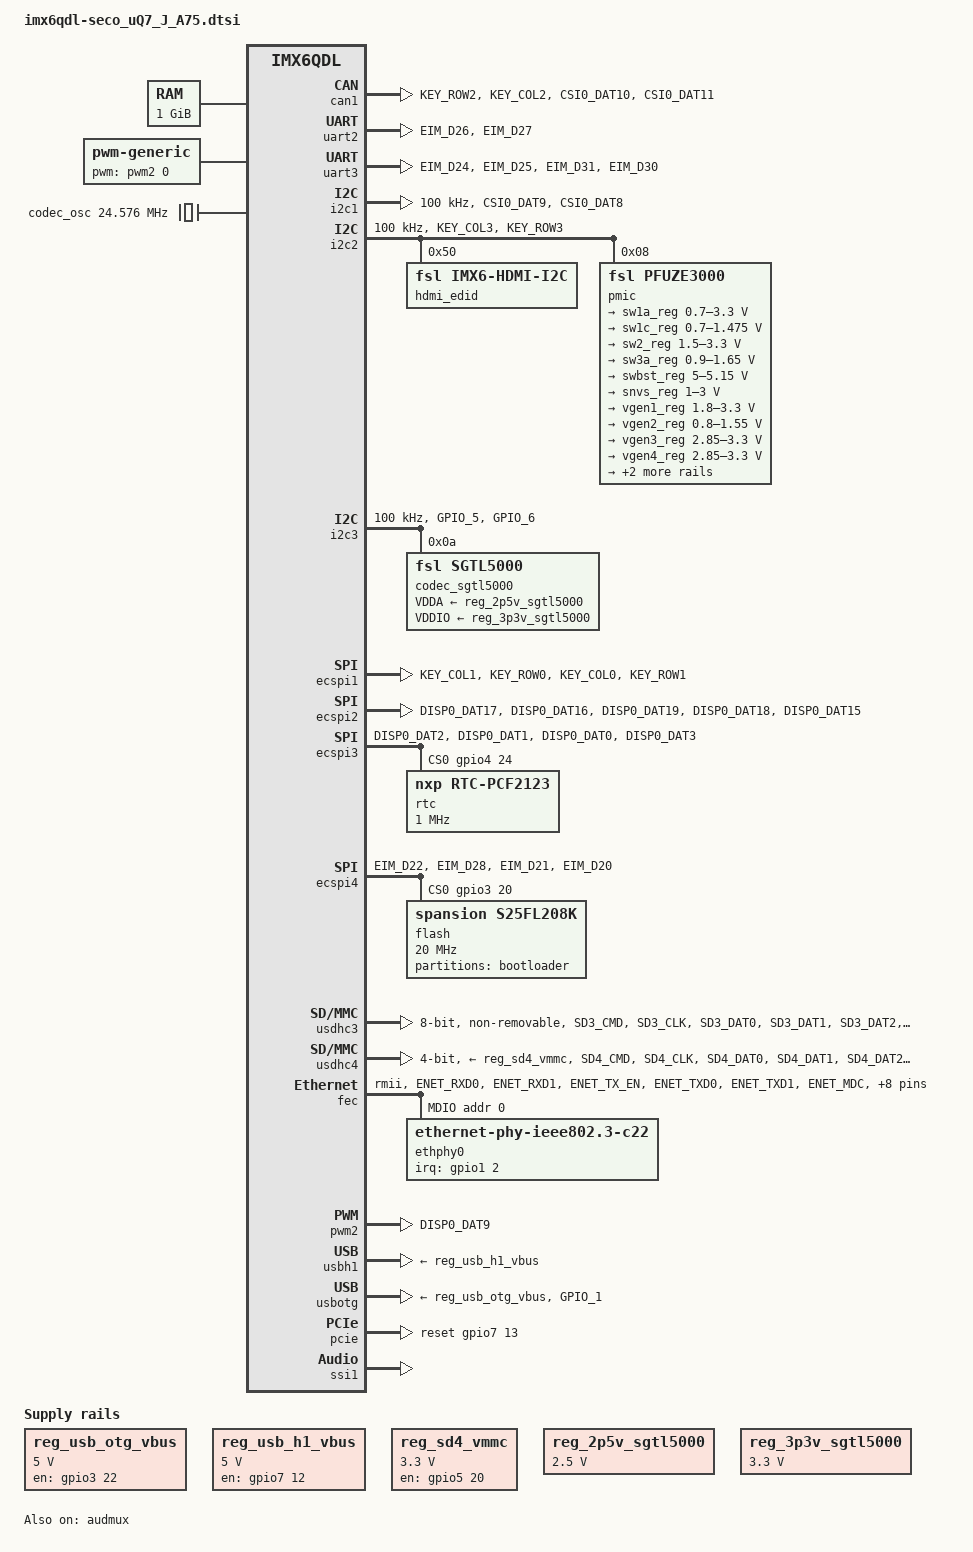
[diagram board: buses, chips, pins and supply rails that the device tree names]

#include <dt-bindings/gpio/gpio.h>
#include <dt-bindings/input/input.h>
#include <dt-bindings/pwm/pwm.h>
#include <dt-bindings/seco/ectrl.h>


/ {
	aliases {
		mxcfb0 = &mxcfb1;
		mxcfb1 = &mxcfb2;
		mxcfb2 = &mxcfb3;
		mxcfb3 = &mxcfb4;
		mmc0   = &usdhc3;
		mmc1   = &usdhc4;
	};

	memory: memory {
		reg = <0x10000000 0x40000000>;
	};


/*  __________________________________________________________________________
 * |                                                                          |
 * |                                 REGULATORS                               |
 * |__________________________________________________________________________|
 */
	regulators {
		compatible       = "simple-bus";
		#address-cells   = <1>;
		#size-cells      = <0>;

		reg_usb_otg_vbus: regulator@0 {
			compatible              = "regulator-fixed";
			reg                     = <0>;
			regulator-name          = "usb_otg_vbus";
			regulator-min-microvolt = <5000000>;
			regulator-max-microvolt = <5000000>;
			gpio                    = <&gpio3 22 0>;
			enable-active-high;
		};

		reg_usb_h1_vbus: regulator@1 {
			compatible              = "regulator-fixed";
			reg                     = <1>;
			regulator-name          = "usb_h1_vbus";
			pinctrl-0               = <&pinctrl_usb_reg>;
			regulator-min-microvolt = <5000000>;
			regulator-max-microvolt = <5000000>;
			gpio                    = <&gpio7 12 0>;
			enable-active-high;
			startup-delay-us        = <10>; /* USB2514 requires a POR of 1 us minimum */
		};

		reg_panel_on: regulator@2 {
			compatible              = "regulator-fixed";
			reg                     = <2>;
			regulator-name          = "reg_panel_on";
			regulator-min-microvolt = <3300000>;
			regulator-max-microvolt = <3300000>;
			gpio                    = <&gpio1 2 0>;
			enable-active-high;
			regulator-boot-on;
			regulator-always-on;
			status                  = "disabled";
		};

		reg_sd4_vmmc: regulator@3 {
			compatible              = "regulator-fixed";
			reg                     = <3>;
			regulator-name          = "sdcard_on";
			regulator-min-microvolt = <3300000>;
			regulator-max-microvolt = <3300000>;
			gpio                    = <&gpio5 20 0>;
			enable-active-high;
		};

		reg_2p5v_sgtl5000: regulator@4 {
			compatible              = "regulator-fixed";
			reg                     = <4>;
			regulator-name          = "2P5V_sgtl5000";
			regulator-min-microvolt = <2500000>;
			regulator-max-microvolt = <2500000>;
			regulator-always-on;
			status                  = "okay";
		};

		reg_3p3v_sgtl5000: regulator@5 {
			compatible              = "regulator-fixed";
			reg                     = <5>;
			regulator-name          = "3P3V_sgtl5000";
			regulator-min-microvolt = <3300000>;
			regulator-max-microvolt = <3300000>;
			regulator-always-on;
			status                  = "okay";
		};

	};


/*  __________________________________________________________________________
 * |                                                                          |
 * |                                   VIDEO                                  |
 * |__________________________________________________________________________|
 */

	mxcfb1: fb@0 {
		compatible = "fsl,mxc_sdc_fb";
		disp_dev = "ldb";
		interface_pix_fmt = "RGB666";
		default_bpp = <16>;
		int_clk = <0>;
		late_init = <0>;
		status = "disabled";
	};

	mxcfb2: fb@1 {
		compatible = "fsl,mxc_sdc_fb";
		disp_dev = "hdmi";
		interface_pix_fmt = "RGB24";
		mode_str ="1920x1080M@60";
		default_bpp = <24>;
		int_clk = <0>;
		late_init = <0>;
		status = "disabled";
	};

	mxcfb3: fb@2 {
		compatible = "fsl,mxc_sdc_fb";
		disp_dev = "lcd";
		interface_pix_fmt = "RGB565";
		mode_str ="CLAA-WVGA";
		default_bpp = <16>;
		int_clk = <0>;
		late_init = <0>;
		status = "disabled";
	};

	mxcfb4: fb@3 {
		compatible = "fsl,mxc_sdc_fb";
		disp_dev = "ldb";
		interface_pix_fmt = "RGB666";
		default_bpp = <16>;
		int_clk = <0>;
		late_init = <0>;
		status = "disabled";
	};


	backlight: backlight {
		compatible               = "pwm-backlight";
		pwms                     = <&pwm1 0 5000000>;
		brightness-levels        = <0  4   8   12  16  20  24  28  32  36
		                            40  44  48  52  56  60  64  68  72  76
		                            80  84  88  92  96  100 104 108 112 116
		                            120 124 128 132 136 140 144 148 152 156
		                            160 164 168 172 176 180 184 188 192 196
		                            200 204 208 212 216 220 224 228 232 236
		                            240 244 248 252 255
		                           >;
		default-brightness-level = <64>;
		enable-gpios             = <&gpio1 4 0>;
		status                   = "disabled";
	};



/*  __________________________________________________________________________
 * |                                                                          |
 * |                                    PWM                                   |
 * |__________________________________________________________________________|
 */
	pwm-generic {
		compatible      = "pwm-generic";
		pwms            = <&pwm2 0 500000000>;
		pinctrl-0       = <&pinctrl_pwm2>;
		max-duty        = <255>;
		dft-duty        = <128>;
		pwm-period-ns   = <5000000>;
		period-ns-min   = <150>;
		period-ns-max   = <50000000>;
		pwm-id          = <1>;
		enable          = <0>;
	};
};



/*  __________________________________________________________________________
 * |                                                                          |
 * |                                 CLOCKS                                   |
 * |__________________________________________________________________________|
 */
/ {
	clocks {
		codec_osc: anaclk2 {
			compatible      = "fixed-clock";
			#clock-cells    = <0>;
			clock-frequency = <24576000>;
		};
	};
};

&clks {
	assigned-clocks      =
		<&clks IMX6QDL_PLL4_BYPASS_SRC>,
 		<&clks IMX6QDL_PLL4_BYPASS>,
		<&clks IMX6QDL_CLK_PLL4_POST_DIV>;

	assigned-clock-parents =
		<&clks IMX6QDL_CLK_LVDS2_IN>,
		<&clks IMX6QDL_PLL4_BYPASS_SRC>;

	assigned-clock-rates = <0>, <0>, <24576000>;
};



/*  __________________________________________________________________________
 * |                                                                          |
 * |                                    CAN                                   |
 * |__________________________________________________________________________|
 */
/*  Shared with UART1  */
&can1 {
	pinctrl-names = "default";
	pinctrl-0     = <&pinctrl_flexcan1>;
	status        = "okay";
};
/*  __________________________________________________________________________
 * |__________________________________________________________________________|
 */


/*  __________________________________________________________________________
 * |                                                                          |
 * |                                    UART                                  |
 * |__________________________________________________________________________|
 */
&uart1 {
	pinctrl-names = "default";
	pinctrl-0     = <&pinctrl_uart1>;
	status        = "disabled";
};


&uart2 {
	pinctrl-names = "default";
	pinctrl-0     = <&pinctrl_uart2>;
	status        = "okay";
};


&uart3 {
	pinctrl-names = "default";
	pinctrl-0     = <&pinctrl_uart3>;
	dma-names     = "","tx";
	status        = "okay";
};
/*  __________________________________________________________________________
 * |__________________________________________________________________________|
 */


/*  __________________________________________________________________________
 * |                            I2C INTERFACE/DEVICE                          |
 * |__________________________________________________________________________|
 */
&i2c1 {
	clock-frequency = <100000>;
	pinctrl-names   = "default";
	pinctrl-0       = <&pinctrl_i2c1>;
	status          = "okay";
};


&i2c2 {
	clock-frequency = <100000>;
	pinctrl-names   = "default";
	pinctrl-0       = <&pinctrl_i2c2>;
	status          = "okay";

	hdmi_edid: edid@50 {
		compatible = "fsl,imx6-hdmi-i2c";
		reg        = <0x50>;
		status     = "okay";
	};

	pmic: pfuze3000@08 {
		compatible = "fsl,pfuze3000";
		reg        = <0x08>;

		regulators {
			sw1a_reg: sw1a {
				regulator-min-microvolt = <700000>;
				regulator-max-microvolt = <3300000>;
				regulator-boot-on;
				regulator-always-on;
				regulator-ramp-delay    = <6250>;
			};
				
			sw1c_reg: sw1b {
				regulator-min-microvolt = <700000>;
				regulator-max-microvolt = <1475000>;
				regulator-boot-on;
				regulator-always-on;
				regulator-ramp-delay = <6250>;
			};

			sw2_reg: sw2 {
				regulator-min-microvolt = <1500000>;
				regulator-max-microvolt = <3300000>;
				regulator-boot-on;
				regulator-always-on;
			};

			sw3a_reg: sw3 {
				regulator-min-microvolt = <900000>;
				regulator-max-microvolt = <1650000>;
				regulator-boot-on;
				regulator-always-on;
			};

			swbst_reg: swbst {
				regulator-min-microvolt = <5000000>;
				regulator-max-microvolt = <5150000>;
			};

			snvs_reg: vsnvs {
				regulator-min-microvolt = <1000000>;
				regulator-max-microvolt = <3000000>;
				regulator-boot-on;
				regulator-always-on;
			};

			vref_reg: vrefddr {
				regulator-boot-on;
				regulator-always-on;
			};

			vgen1_reg: vldo1 {
				regulator-min-microvolt = <1800000>;
				regulator-max-microvolt = <3300000>;
				regulator-always-on;
			};

			vgen2_reg: vldo2 {
				regulator-min-microvolt = <800000>;
				regulator-max-microvolt = <1550000>;
			};

			vgen3_reg: vccsd {
				regulator-min-microvolt = <2850000>;
				regulator-max-microvolt = <3300000>;
				regulator-always-on;
			};

			vgen4_reg: v33 {
				regulator-min-microvolt = <2850000>;
				regulator-max-microvolt = <3300000>;
				regulator-always-on;
			};

			vgen5_reg: vldo3 {
				regulator-min-microvolt = <1800000>;
				regulator-max-microvolt = <3300000>;
				regulator-always-on;
			};

			vgen6_reg: vldo4 {
				regulator-min-microvolt = <2800000>;
				regulator-max-microvolt = <2800000>;
				regulator-always-on;
			};
		};
	};
};


&i2c3 {
	clock-frequency = <100000>;
	pinctrl-names   = "default";
	pinctrl-0       = <&pinctrl_i2c3>;
	status          = "okay";

	codec_sgtl5000: sgtl5000@0a {
		compatible   = "fsl,sgtl5000";
		reg          = <0x0a>;
		clocks       = <&clks IMX6QDL_CLK_CKO>;
		VDDA-supply  = <&reg_2p5v_sgtl5000>;
		VDDIO-supply = <&reg_3p3v_sgtl5000>;
		status       = "okay";
	};
};
/*  __________________________________________________________________________
 * |__________________________________________________________________________|
 */


/*  __________________________________________________________________________
 * |                                                                          |
 * |                            SPI INTERFACE/DEVICE                          |
 * |__________________________________________________________________________|
 */
&ecspi1 {
	fsl,spi-num-chipselects = <1>;
	cs-gpios                = <&gpio4 9 0>;
	pinctrl-names           = "default";
	pinctrl-0               = <&pinctrl_ecspi1>;
	status                  = "okay";
};


&ecspi2 {
	fsl,spi-num-chipselects = <2>;
	cs-gpios                = <&gpio5 12 0>, <&gpio5 9 9>;
	pinctrl-names           = "default";
	pinctrl-0               = <&pinctrl_ecspi2>;
	status                  = "okay";
};


&ecspi3 {
	fsl,spi-num-chipselects = <1>;
	cs-gpios                = <&gpio4 24 0>;
	pinctrl-names           = "default";
	pinctrl-0               = <&pinctrl_ecspi3>;
	status                  = "okay";

	rtc: pcf2123@0 {
		compatible        = "nxp,rtc-pcf2123";
		reg               = <0>;
		spi-max-frequency = <1000000>;
		spi-cs-high;
	};
};


&ecspi4 {
	fsl,spi-num-chipselects = <1>;
	cs-gpios                = <&gpio3 20 0>;
	pinctrl-names           = "default";
	pinctrl-0               = <&pinctrl_ecspi4>;
	status                  = "okay";


	flash: m25p80@0 {
		#address-cells    = <1>;
		#size-cells       = <0>;

		compatible        = "spansion,s25fl208k", "jedec,spi-nor";
		reg               = <0>;
		spi-max-frequency = <20000000>;

		partitions {
			compatible = "fixed-partitions";
			#address-cells = <1>;
			#size-cells = <1>;

			partition@0 {
				label = "bootloader";
				reg   = <0x00000000 0x00100000>;
			};
		};
	};

};
/*  __________________________________________________________________________
 * |__________________________________________________________________________|
 */


/*  __________________________________________________________________________
 * |                                                                          |
 * |                                   USDHC                                  |
 * |__________________________________________________________________________|
 */
/*  eMMC  */
&usdhc3 {
	pinctrl-names          = "default";
	pinctrl-0              = <&pinctrl_usdhc3>;
	bus-width              = <8>;
	no-1-8-v;
	non-removable;
	keep-power-in-suspend;
	status                 = "okay";
};


/*  uSD  */
&usdhc4 {
	pinctrl-names          = "default";
	pinctrl-0              = <&pinctrl_usdhc4>;
	cd-gpios               = <&gpio2 6 GPIO_ACTIVE_LOW>;
	bus-width              = <4>;
	vmmc-supply            = <&reg_sd4_vmmc>;
	keep-power-in-suspend;
	enable-sdio-wakeup;
	no-1-8-v;
	status                 = "okay";
};
/*  __________________________________________________________________________
 * |__________________________________________________________________________|
 */


/*  __________________________________________________________________________
 * |                                                                          |
 * |                                  ETHERNET                                |
 * |__________________________________________________________________________|
 */
&fec {
	pinctrl-names        = "default";
	pinctrl-0            = <&pinctrl_enet>;
	phy-mode             = "rmii";
	phy-reset-gpios      = <&gpio1 3 0>;
	phy-reset-duration   = <20>;
	phy-reset-post-delay = <100>;
	fsl,num_tx_queues    = <3>;
	fsl,num_rx_queues    = <3>;
	fsl,magic-packet;
	status               = "okay";

	mdio: mdio {
		#address-cells = <1>;
		#size-cells = <0>;

		ethphy0: ethernet-phy@0 {
			compatible = "ethernet-phy-ieee802.3-c22";
			reg = <0>;
			interrupt-parent = <&gpio1>;
			interrupts = <2 IRQ_TYPE_LEVEL_LOW>;
			status = "okay";
		};
	};
};
/*  __________________________________________________________________________
 * |__________________________________________________________________________|
 */



/*  __________________________________________________________________________
 * |                                                                          |
 * |                                     PWM                                  |
 * |__________________________________________________________________________|
 */
&pwm1 {
	pinctrl-names = "default";
	pinctrl-0     = <&pinctrl_pwm1>;
	status        = "disabled";
};


&pwm2 {
	pinctrl-names = "default";
	pinctrl-0     = <&pinctrl_pwm2>;
	status        = "okay";
};
/*  __________________________________________________________________________
 * |__________________________________________________________________________|
 */



/*  __________________________________________________________________________
 * |                                                                          |
 * |                                     USB                                  |
 * |__________________________________________________________________________|
 */
&usbh1 {
	vbus-supply = <&reg_usb_h1_vbus>;
	status      = "okay";
};


&usbotg {
	vbus-supply           = <&reg_usb_otg_vbus>;
	pinctrl-names         = "default";
	pinctrl-0             = <&pinctrl_usbotg>;
	disable-over-current;
	status                = "okay";
};
/*  __________________________________________________________________________
 * |__________________________________________________________________________|
 */


/*  __________________________________________________________________________
 * |                                                                          |
 * |                                 VIDEO OUTPUT                             |
 * |__________________________________________________________________________|
 */
&hdmi_audio {
	status = "disabled";
};


&hdmi_core {
	ipu_id  = <0>;
	disp_id = <0>;
	status  = "disabled";
};


&hdmi_video {
	fsl,phy_reg_vlev    = <0x0294>;
	fsl,phy_reg_cksymtx = <0x800d>;
	status              = "disabled";
};
/*  __________________________________________________________________________
 * |__________________________________________________________________________|
 */


/*  __________________________________________________________________________
 * |                                                                          |
 * |                                    PCI                                   |
 * |__________________________________________________________________________|
 */
&pcie {
	reset-gpio = <&gpio7 13 0>;
	status     = "okay";
};
/*  __________________________________________________________________________
 * |__________________________________________________________________________|
 */


/*  __________________________________________________________________________
 * |                                                                          |
 * |                                   AUDIO                                  |
 * |__________________________________________________________________________|
 */
/*  __________________________________________________________________________
 * |___________________________ AUDIO SGTL5000 _______________________________|
 */

 / {
    sound_sgtl5000: sound_sgtl5000 {
        compatible     = "fsl,imx6q-seco-sgtl5000",
                         "fsl,imx-audio-sgtl5000";
        model          = "fsl,imx6q-seco-sgtl5000";
        cpu-dai        = <&ssi1>;
        ssi-controller = <&ssi1>;
        audio-codec    = <&codec_sgtl5000>;
        audio-routing  = "MIC_IN", "Mic Jack",
                         "Mic Jack", "Mic Bias",
                         "Headphone Jack", "HP_OUT";
        mux-int-port   = <1>;
        mux-ext-port   = <6>;
        status         = "okay";
    };
};


&ssi1 {
    fsl,mode    = "i2s-slave";
    status      = "okay";
	cell-index  = <0>;
};


&audmux {
	pinctrl-names = "default";
	pinctrl-0     = <&pinctrl_audmux>;
	status        = "okay";
};


/*  __________________________________________________________________________
 * |__________________________________________________________________________|
 */


/*  __________________________________________________________________________
 * |                                                                          |
 * |                                    IOMUX                                 |
 * |__________________________________________________________________________|
 */
&iomuxc {
	pinctrl-names = "default";
	pinctrl-0 = <&pinctrl_hog>;

	imx6qdl-uQ7_962 {

		pinctrl_hog: hoggrp {
			fsl,pins = <
				/*  PCF2123 interrupt  */
				MX6QDL_PAD_DISP0_DAT4__GPIO4_IO25            0x1f071

				/*  PCI reset  */
				MX6QDL_PAD_GPIO_18__GPIO7_IO13               0x1f071

				/*  Pins as GPI in Hi-Z  */
				MX6QDL_PAD_EIM_LBA__GPIO2_IO27               0x1f041
				MX6QDL_PAD_EIM_RW__GPIO2_IO26                0x1f041
				MX6QDL_PAD_EIM_A16__GPIO2_IO22               0x1f041
				MX6QDL_PAD_EIM_A17__GPIO2_IO21               0x1f041
				MX6QDL_PAD_EIM_A18__GPIO2_IO20               0x1f041
				MX6QDL_PAD_EIM_A19__GPIO2_IO19               0x1f041
				MX6QDL_PAD_EIM_A20__GPIO2_IO18               0x1f041
				MX6QDL_PAD_EIM_A21__GPIO2_IO17               0x1f041
				MX6QDL_PAD_EIM_A22__GPIO2_IO16               0x1f041
				MX6QDL_PAD_EIM_A23__GPIO6_IO06               0x1f041
				MX6QDL_PAD_EIM_A24__GPIO5_IO04               0x1f041
				MX6QDL_PAD_EIM_DA0__GPIO3_IO00               0x1f041
				MX6QDL_PAD_EIM_DA1__GPIO3_IO01               0x1f041
				MX6QDL_PAD_EIM_DA2__GPIO3_IO02               0x1f041
				MX6QDL_PAD_EIM_DA3__GPIO3_IO03               0x1f041
				MX6QDL_PAD_EIM_DA4__GPIO3_IO04               0x1f041
				MX6QDL_PAD_EIM_DA5__GPIO3_IO05               0x1f041
				MX6QDL_PAD_EIM_DA6__GPIO3_IO06               0x1f041
				MX6QDL_PAD_EIM_DA7__GPIO3_IO07               0x1f041
				MX6QDL_PAD_EIM_DA8__GPIO3_IO08               0x1f041
				MX6QDL_PAD_EIM_DA9__GPIO3_IO09               0x1f041
				MX6QDL_PAD_EIM_DA10__GPIO3_IO10              0x1f041
				MX6QDL_PAD_EIM_DA11__GPIO3_IO11              0x1f041
				MX6QDL_PAD_EIM_DA12__GPIO3_IO12              0x1f041
				MX6QDL_PAD_EIM_DA13__GPIO3_IO13              0x1f041
				MX6QDL_PAD_EIM_DA14__GPIO3_IO14              0x1f041
				MX6QDL_PAD_EIM_DA15__GPIO3_IO15              0x1f041
				MX6QDL_PAD_EIM_EB2__GPIO2_IO30               0x1f041
				MX6QDL_PAD_EIM_EB3__GPIO2_IO31               0x1f041
				MX6QDL_PAD_EIM_WAIT__GPIO5_IO00              0x1f041
				MX6QDL_PAD_EIM_EB0__GPIO2_IO28               0x1f041
				MX6QDL_PAD_EIM_EB1__GPIO2_IO29               0x1f041
			>;
		};


/*  __________________________________________________________________________
 * |________________________________ UART ____________________________________|
 */
		pinctrl_uart1: uart1grp {
			fsl,pins = <
				MX6QDL_PAD_CSI0_DAT10__UART1_TX_DATA         0x1b0b1
				MX6QDL_PAD_CSI0_DAT11__UART1_RX_DATA         0x1b0b1
				MX6QDL_PAD_KEY_ROW2__GPIO4_IO11              0x1f041
				MX6QDL_PAD_KEY_COL2__GPIO4_IO10              0x1f041
			>;
		};

		/* DEBUG UART */
		pinctrl_uart2: uart2grp {
			fsl,pins = <
				MX6QDL_PAD_EIM_D26__UART2_TX_DATA            0x1b0b1
				MX6QDL_PAD_EIM_D27__UART2_RX_DATA            0x1b0b1
			>;
		};

		pinctrl_uart3: uart3grp {
			fsl,pins = <
				MX6QDL_PAD_EIM_D24__UART3_TX_DATA            0x1b0b1
				MX6QDL_PAD_EIM_D25__UART3_RX_DATA            0x1b0b1
				MX6QDL_PAD_EIM_D31__UART3_RTS_B              0x1b0b1
				MX6QDL_PAD_EIM_D30__UART3_CTS_B              0x1b0b1
			>;
		};


/*  __________________________________________________________________________
 * |_________________________________ I2C ____________________________________|
 */
 		pinctrl_i2c1: i2c1grp {
			fsl,pins = <
				MX6QDL_PAD_CSI0_DAT9__I2C1_SCL               0x4001b8b1
				MX6QDL_PAD_CSI0_DAT8__I2C1_SDA               0x4001b8b1
			>;
		};

		pinctrl_i2c2: i2c2grp {
			fsl,pins = <
				MX6QDL_PAD_KEY_COL3__I2C2_SCL                0x4001b8b1
				MX6QDL_PAD_KEY_ROW3__I2C2_SDA                0x4001b8b1
			 >;
		};

		pinctrl_i2c3: i2c3grp {
			fsl,pins = <
				MX6QDL_PAD_GPIO_5__I2C3_SCL                  0x4001b8b1
				MX6QDL_PAD_GPIO_6__I2C3_SDA                  0x4001b8b1
			>;
		};

/*  __________________________________________________________________________
 * |_________________________________ SPI ____________________________________|
 */
		pinctrl_ecspi1: ecspi1grp {
			fsl,pins = <
				MX6QDL_PAD_KEY_COL1__ECSPI1_MISO             0x100b1
				MX6QDL_PAD_KEY_ROW0__ECSPI1_MOSI             0x100b1
				MX6QDL_PAD_KEY_COL0__ECSPI1_SCLK             0x100b1
				/*  CS SPI 1  */
				MX6QDL_PAD_KEY_ROW1__GPIO4_IO09              0x80000000
			>;
		};

 		pinctrl_ecspi2: ecspi2grp {
			fsl,pins = <
				MX6QDL_PAD_DISP0_DAT17__ECSPI2_MISO          0x100b1
				MX6QDL_PAD_DISP0_DAT16__ECSPI2_MOSI          0x100b1
				MX6QDL_PAD_DISP0_DAT19__ECSPI2_SCLK          0x100b1
				/*  CS SPI 2  */
				MX6QDL_PAD_DISP0_DAT18__GPIO5_IO12           0x80000000
				MX6QDL_PAD_DISP0_DAT15__GPIO5_IO09           0x80000000
			>;
		};

 		pinctrl_ecspi3: ecspi3grp {
			fsl,pins = <
				MX6QDL_PAD_DISP0_DAT2__ECSPI3_MISO           0x100b1
				MX6QDL_PAD_DISP0_DAT1__ECSPI3_MOSI           0x100b1
				MX6QDL_PAD_DISP0_DAT0__ECSPI3_SCLK           0x100b1
				/*  CS SPI 3  */
				MX6QDL_PAD_DISP0_DAT3__GPIO4_IO24            0x80000000
			>;
		};

		pinctrl_ecspi4: ecspi4grp {
			fsl,pins = <
				MX6QDL_PAD_EIM_D22__ECSPI4_MISO              0x100b1
				MX6QDL_PAD_EIM_D28__ECSPI4_MOSI              0x100b1
				MX6QDL_PAD_EIM_D21__ECSPI4_SCLK              0x100b1
				/*  CS SPI 3  */
				MX6QDL_PAD_EIM_D20__GPIO3_IO20               0x80000000
			>;
		};


/*  __________________________________________________________________________
 * |________________________________ USDHC ___________________________________|
 */
		pinctrl_usdhc3: usdhc3grp {
			fsl,pins = <
				MX6QDL_PAD_SD3_CMD__SD3_CMD                  0x17059
				MX6QDL_PAD_SD3_CLK__SD3_CLK                  0x10059
				MX6QDL_PAD_SD3_DAT0__SD3_DATA0               0x17059
				MX6QDL_PAD_SD3_DAT1__SD3_DATA1               0x17059
				MX6QDL_PAD_SD3_DAT2__SD3_DATA2               0x17059
				MX6QDL_PAD_SD3_DAT3__SD3_DATA3               0x17059
				MX6QDL_PAD_SD3_DAT4__SD3_DATA4               0x17059
				MX6QDL_PAD_SD3_DAT5__SD3_DATA5               0x17059
				MX6QDL_PAD_SD3_DAT6__SD3_DATA6               0x17059
				MX6QDL_PAD_SD3_DAT7__SD3_DATA7               0x17059
				MX6QDL_PAD_SD3_RST__SD3_RESET                0x17059
			>;
		};

		pinctrl_usdhc4: usdhc4grp {
			fsl,pins = <
				MX6QDL_PAD_SD4_CMD__SD4_CMD                  0x17059
				MX6QDL_PAD_SD4_CLK__SD4_CLK                  0x10059
				MX6QDL_PAD_SD4_DAT0__SD4_DATA0               0x17059
				MX6QDL_PAD_SD4_DAT1__SD4_DATA1               0x17059
				MX6QDL_PAD_SD4_DAT2__SD4_DATA2               0x17059
				MX6QDL_PAD_SD4_DAT3__SD4_DATA3               0x17059
				MX6QDL_PAD_NANDF_D6__GPIO2_IO06              0x17059
				MX6QDL_PAD_CSI0_DATA_EN__GPIO5_IO20          0x17059
				/*  POWER  */
				MX6QDL_PAD_NANDF_D5__GPIO2_IO05              0x17059
				/*  CARD DETECT  */
				MX6QDL_PAD_NANDF_D6__GPIO2_IO06              0x17059
				/*  WRITE PROTECT  */
				MX6QDL_PAD_CSI0_DATA_EN__GPIO5_IO20          0x17059
			>;
		};

/*  __________________________________________________________________________
 * |__________________________________ CAN ___________________________________|
 */
		pinctrl_flexcan1: flexcan1grp {
			fsl,pins = <
				MX6QDL_PAD_KEY_ROW2__FLEXCAN1_RX             0x80000000
				MX6QDL_PAD_KEY_COL2__FLEXCAN1_TX             0x80000000
				MX6QDL_PAD_CSI0_DAT10__GPIO5_IO28            0x1f041
				MX6QDL_PAD_CSI0_DAT11__GPIO5_IO29            0x1f041
			>;
		};

/*  __________________________________________________________________________
 * |______________________________ ETHERNET __________________________________|
 */
 		pinctrl_enet: enetgrp {
			fsl,pins = <
				MX6QDL_PAD_ENET_RXD0__ENET_RX_DATA0          0x1b0b0
				MX6QDL_PAD_ENET_RXD1__ENET_RX_DATA1          0x1b0b0
				MX6QDL_PAD_ENET_TX_EN__ENET_TX_EN            0x1b0b0
				MX6QDL_PAD_ENET_TXD0__ENET_TX_DATA0          0x1b0b0
				MX6QDL_PAD_ENET_TXD1__ENET_TX_DATA1          0x1b0b0

				MX6QDL_PAD_ENET_MDC__ENET_MDC                0x1b0b0
				MX6QDL_PAD_ENET_MDIO__ENET_MDIO              0x1b0b0
				/*  RESET  */
				MX6QDL_PAD_GPIO_3__GPIO1_IO03                0x1f071
				/*  IRQ  */
				MX6QDL_PAD_GPIO_2__GPIO1_IO02                0x1f071
				MX6QDL_PAD_ENET_RX_ER__ENET_RX_ER            0x1b0b0
				MX6QDL_PAD_GPIO_16__ENET_REF_CLK             0x1b0b0
				MX6QDL_PAD_ENET_CRS_DV__ENET_RX_EN           0x1b0b0
				MX6QDL_PAD_ENET_REF_CLK__GPIO1_IO23          0x1b0b0
			>;
		};


/*  __________________________________________________________________________
 * |__________________________________ PWM ___________________________________|
 */
		/*  Backlight  */
		pinctrl_pwm1: pwm1grp {
			fsl,pins = <
				MX6QDL_PAD_GPIO_9__PWM1_OUT                  0x1b0b1
			>;
		};

		pinctrl_pwm2: pwm2grp {
			fsl,pins = <
				MX6QDL_PAD_DISP0_DAT9__PWM2_OUT	     	     0x1b0b1
			>;
		};

/*  __________________________________________________________________________
 * |__________________________________ USB ___________________________________|
 */
		pinctrl_usb_h1: usbh1grp {
			fsl,pins = <
				MX6QDL_PAD_NANDF_CS2__CCM_CLKO2              0x130b0
			>;
		};

		pinctrl_usbotg: usbotggrp {
			fsl,pins = <
				MX6QDL_PAD_GPIO_1__USB_OTG_ID                0x17059
			>;
		};

		pinctrl_usb_reg: usbreggrp {
			fsl,pins = <
				MX6QDL_PAD_GPIO_17__GPIO7_IO12               0x1b0b0
			>;
		};


/*  __________________________________________________________________________
 * |_____________________________ AUDIO AC97 _________________________________|
 */
		ac97link_running: ac97link_runninggrp {
			fsl,pins = <
				MX6QDL_PAD_DI0_PIN2__AUD6_TXD                0x130b0
				MX6QDL_PAD_DI0_PIN3__AUD6_TXFS               0x130b0
				MX6QDL_PAD_DI0_PIN4__AUD6_RXD                0x130b0
				MX6QDL_PAD_DI0_PIN15__AUD6_TXC               0x130b0
			>;
		};

		ac97link_reset: ac97link_resetgrp {
			fsl,pins = <
				/*  AUD_SYNC  */
				MX6QDL_PAD_DI0_PIN3__GPIO4_IO19              0x1f071
				/*  AUD_SDO  */
				MX6QDL_PAD_DI0_PIN2__GPIO4_IO18              0x1f071
				/*  RESET  */
				MX6QDL_PAD_SD2_CMD__GPIO1_IO11               0x1f071
			>;
		};

		ac97link_warm_reset: ac97link_warm_resetgrp {
			fsl,pins = <
				MX6QDL_PAD_DI0_PIN3__GPIO4_IO19              0x80000000
			>;
		};

		pinctrl_audmux: audmuxgrp {
			fsl,pins = <
				MX6QDL_PAD_DI0_PIN2__AUD6_TXD                0x130b0
				MX6QDL_PAD_DI0_PIN3__AUD6_TXFS               0x130b0
				MX6QDL_PAD_DI0_PIN4__AUD6_RXD                0x130b0
				MX6QDL_PAD_DI0_PIN15__AUD6_TXC               0x130b0
				MX6QDL_PAD_SD2_CMD__GPIO1_IO11               0x1f071
			>;
		};


	};
};
/*  __________________________________________________________________________
 * |__________________________________________________________________________|
 */
